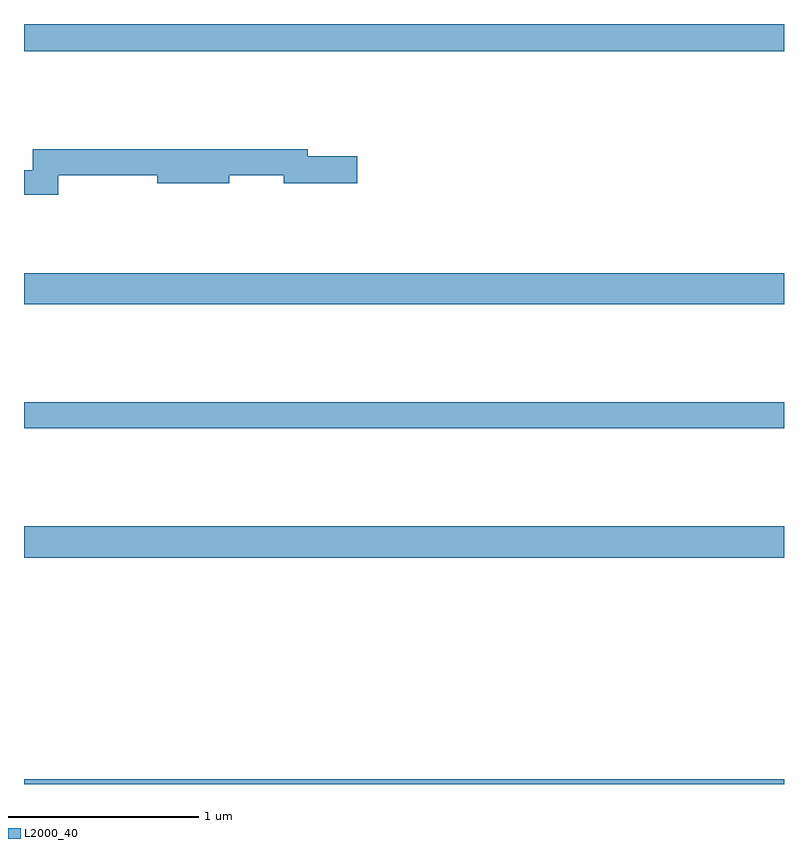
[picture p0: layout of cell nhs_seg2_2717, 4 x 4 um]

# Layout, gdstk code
import gdstk
lib = gdstk.Library(unit=1e-6, precision=1e-09)
def R(c, l, rs):  # rectangles x0, y0, x1, y1
    for r in rs: c.add(gdstk.rectangle(r[:2], r[2:], *l))
def P(c, l, *ps):  # polygons
    for p in ps: c.add(gdstk.Polygon(p, *l))
L2000_40 = (2000, 40)

nhs_seg2_2717 = lib.new_cell('nhs_seg2_2717')
R(nhs_seg2_2717, L2000_40, [(253,623.8,257,623.824), (253,624.992,257,625.156), (253,625.672,257,625.808), (253,626.324,257,626.488), (253,627.656,257,627.8)])
P(nhs_seg2_2717, L2000_40, [(253.181,627.004),(253.7,627.004),(253.7,626.962),(254.08,626.962),(254.08,627.004),(254.366,627.004),(254.366,626.962),(254.755,626.962),(254.755,627.104),(254.494,627.104),(254.494,627.14),(253.045,627.14),(253.045,627.029),(253,627.029),(253,626.901),(253.181,626.901)])

lib.write_gds('nhs_seg2_2717.gds')
